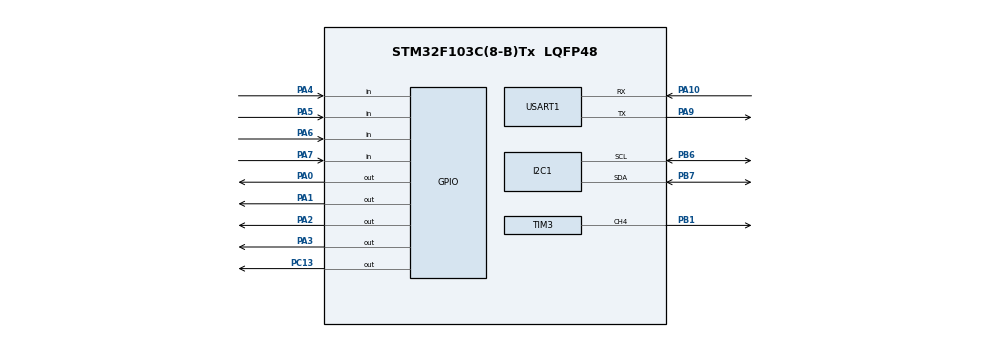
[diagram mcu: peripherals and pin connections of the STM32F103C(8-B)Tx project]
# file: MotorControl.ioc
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Mcu.Family=STM32F1
Mcu.Name=STM32F103C(8-B)Tx
Mcu.Package=LQFP48
NVIC.PriorityGroup=NVIC_PRIORITYGROUP_4
NVIC.TIM4_IRQn=true\:15\:0\:false\:false\:true\:false\:true\:true
NVIC.TimeBase=TIM4_IRQn
NVIC.TimeBaseIP=TIM4
PA0-WKUP.Signal=GPIO_Output
PA1.Signal=GPIO_Output
PA10.Mode=Asynchronous
PA10.Signal=USART1_RX
PA2.Signal=GPIO_Output
PA3.Signal=GPIO_Output
PA4.GPIO_PuPd=GPIO_PULLUP
PA4.Signal=GPIO_Input
PA5.GPIO_PuPd=GPIO_PULLUP
PA5.Signal=GPIO_Input
PA6.GPIO_PuPd=GPIO_PULLUP
PA6.Signal=GPIO_Input
PA7.GPIO_PuPd=GPIO_PULLUP
PA7.Signal=GPIO_Input
PA9.Mode=Asynchronous
PA9.Signal=USART1_TX
PB1.Signal=S_TIM3_CH4
PB6.Mode=I2C
PB6.Signal=I2C1_SCL
PB7.Mode=I2C
PB7.Signal=I2C1_SDA
PC13-TAMPER-RTC.Signal=GPIO_Output
ProjectManager.HeapSize=0x200
ProjectManager.StackSize=0x400
ProjectManager.TargetToolchain=STM32CubeIDE
RCC.APB1Freq_Value=8000000
RCC.APB2Freq_Value=8000000
SH.S_TIM3_CH4.0=TIM3_CH4,PWM Generation4 CH4
TIM3.Channel-PWM\ Generation4\ CH4=TIM_CHANNEL_4
TIM3.Period=100-1
TIM3.Prescaler=8-1
USART1.VirtualMode=VM_ASYNC
VP_SYS_VS_ND.Mode=No_Debug
VP_SYS_VS_tim4.Mode=TIM4
VP_TIM3_VS_ClockSourceINT.Mode=Internal
board=custom

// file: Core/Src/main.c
/* USER CODE BEGIN Header */
/**
  ******************************************************************************
  * @file           : main.c
  * @brief          : Main program body
  ******************************************************************************
  * @attention
  *
  * Copyright (c) 2025 STMicroelectronics.
  * All rights reserved.
  *
  * This software is licensed under terms that can be found in the LICENSE file
  * in the root directory of this software component.
  * If no LICENSE file comes with this software, it is provided AS-IS.
  *
  ******************************************************************************
  */
/* USER CODE END Header */
#include "main.h"

/* USER CODE BEGIN Includes */
#include "keypad.h"
#include "lcd.h"

/* USER CODE END Includes */

I2C_HandleTypeDef hi2c1;

TIM_HandleTypeDef htim3;

UART_HandleTypeDef huart1;

void SystemClock_Config(void);
static void MX_GPIO_Init(void);
static void MX_USART1_UART_Init(void);
static void MX_I2C1_Init(void);
static void MX_TIM3_Init(void);

int main(void)
{

  /* MCU Configuration--------------------------------------------------------*/

  /* Reset of all peripherals, Initializes the Flash interface and the Systick. */
  HAL_Init();

  /* Configure the system clock */
  SystemClock_Config();

  /* Initialize all configured peripherals */
  MX_GPIO_Init();
  MX_USART1_UART_Init();
  MX_I2C1_Init();
  MX_TIM3_Init();
  /* USER CODE BEGIN 2 */
//  status = xTaskCreate(periodicled_handler, "periodicled_task", 200, NULL, 3, &periodicled_handle);
//      configASSERT(status == pdPASS);
//
//      vTaskStartScheduler();
  /* USER CODE END 2 */

  /* Infinite loop */
  /* USER CODE BEGIN WHILE */
  uint8_t data;
  int digit=0;
  uint8_t speed[3]={'0','0','0'}; // for standard project use queue data structure
  int percentage =0;
  HAL_GPIO_WritePin(GPIOC, GPIO_PIN_13, 1);

  HAL_TIM_PWM_Start(&htim3, TIM_CHANNEL_4);
  TIM3->CCR4=0;
  lcd_init();
  lcd_write_data4bitmode('0');
  lcd_write_data4bitmode('0');
  lcd_write_data4bitmode('0');
  lcd_write_command4bitmode(0x80);
  while (1)
  {
    /* USER CODE END WHILE */

    /* USER CODE BEGIN 3 */
	  if(button_pressed()==1)
	  {
		  HAL_GPIO_WritePin(GPIOC, GPIO_PIN_13, 0);
		  data= whichkey();
//		  HAL_UART_Transmit(&huart1, &data, 1, 1000);
//		  HAL_UART_Transmit(&huart1, "\n\r", 2, 1000);

		  switch (data){
			case '*':
				if(digit>0){//1,2
					if(digit ==1){
						lcd_write_command4bitmode(0x80);
					}
					else if(digit ==2){
						lcd_write_command4bitmode(0x81);
					}
					digit--;
				}
				break;
			case '#':
				if(digit<2){//0,1
					if(digit ==1){
						lcd_write_command4bitmode(0x82);
					}
					else if(digit ==0){
						lcd_write_command4bitmode(0x81);
					}
					digit++;
				}
				break;
			case 'D':
				percentage = (speed[0]-0x30)*100 + (speed[1]-0x30)*10 + (speed[2]-0x30) ;
				if(percentage> 100){
					speed[0]='1';speed[1]='0';speed[2]='0';
					percentage = 100 ;
					lcd_write_command4bitmode(0x80);
					lcd_write_data4bitmode('1');
					lcd_write_data4bitmode('0');
					lcd_write_data4bitmode('0');
					lcd_write_command4bitmode(0x80);
					digit = 0;
				}
					TIM3->CCR4=percentage;
				 HAL_UART_Transmit(&huart1, speed, 3, 1000);
				 HAL_UART_Transmit(&huart1, "\n\r", 2, 1000);
				break;
			default:
				if(data>='0'&&data<='9'){
					speed[digit] = data ;
					HAL_UART_Transmit(&huart1,&speed[digit] , 1, 1000);
					lcd_write_data4bitmode(speed[digit]);
					lcd_write_command4bitmode(0x80|digit);
				}
				//task notify two array -> digit,
				break;
		  }

	  }//button press
	  }//while
  /* USER CODE END 3 */
}

void SystemClock_Config(void)
{
  RCC_OscInitTypeDef RCC_OscInitStruct = {0};
  RCC_ClkInitTypeDef RCC_ClkInitStruct = {0};

  /** Initializes the RCC Oscillators according to the specified parameters
  * in the RCC_OscInitTypeDef structure.
  */
  RCC_OscInitStruct.OscillatorType = RCC_OSCILLATORTYPE_HSI;
  RCC_OscInitStruct.HSIState = RCC_HSI_ON;
  RCC_OscInitStruct.HSICalibrationValue = RCC_HSICALIBRATION_DEFAULT;
  RCC_OscInitStruct.PLL.PLLState = RCC_PLL_NONE;
  if (HAL_RCC_OscConfig(&RCC_OscInitStruct) != HAL_OK)
  {
    Error_Handler();
  }

  /** Initializes the CPU, AHB and APB buses clocks
  */
  RCC_ClkInitStruct.ClockType = RCC_CLOCKTYPE_HCLK|RCC_CLOCKTYPE_SYSCLK
                              |RCC_CLOCKTYPE_PCLK1|RCC_CLOCKTYPE_PCLK2;
  RCC_ClkInitStruct.SYSCLKSource = RCC_SYSCLKSOURCE_HSI;
  RCC_ClkInitStruct.AHBCLKDivider = RCC_SYSCLK_DIV1;
  RCC_ClkInitStruct.APB1CLKDivider = RCC_HCLK_DIV1;
  RCC_ClkInitStruct.APB2CLKDivider = RCC_HCLK_DIV1;

  if (HAL_RCC_ClockConfig(&RCC_ClkInitStruct, FLASH_LATENCY_0) != HAL_OK)
  {
    Error_Handler();
  }
}

static void MX_I2C1_Init(void)
{

  hi2c1.Instance = I2C1;
  hi2c1.Init.ClockSpeed = 100000;
  hi2c1.Init.DutyCycle = I2C_DUTYCYCLE_2;
  hi2c1.Init.OwnAddress1 = 0;
  hi2c1.Init.AddressingMode = I2C_ADDRESSINGMODE_7BIT;
  hi2c1.Init.DualAddressMode = I2C_DUALADDRESS_DISABLE;
  hi2c1.Init.OwnAddress2 = 0;
  hi2c1.Init.GeneralCallMode = I2C_GENERALCALL_DISABLE;
  hi2c1.Init.NoStretchMode = I2C_NOSTRETCH_DISABLE;
  if (HAL_I2C_Init(&hi2c1) != HAL_OK)
  {
    Error_Handler();
  }

}

static void MX_TIM3_Init(void)
{

  TIM_ClockConfigTypeDef sClockSourceConfig = {0};
  TIM_MasterConfigTypeDef sMasterConfig = {0};
  TIM_OC_InitTypeDef sConfigOC = {0};

  htim3.Instance = TIM3;
  htim3.Init.Prescaler = 8-1;
  htim3.Init.CounterMode = TIM_COUNTERMODE_UP;
  htim3.Init.Period = 100-1;
  htim3.Init.ClockDivision = TIM_CLOCKDIVISION_DIV1;
  htim3.Init.AutoReloadPreload = TIM_AUTORELOAD_PRELOAD_DISABLE;
  if (HAL_TIM_Base_Init(&htim3) != HAL_OK)
  {
    Error_Handler();
  }
  sClockSourceConfig.ClockSource = TIM_CLOCKSOURCE_INTERNAL;
  if (HAL_TIM_ConfigClockSource(&htim3, &sClockSourceConfig) != HAL_OK)
  {
    Error_Handler();
  }
  if (HAL_TIM_PWM_Init(&htim3) != HAL_OK)
  {
    Error_Handler();
  }
  sMasterConfig.MasterOutputTrigger = TIM_TRGO_RESET;
  sMasterConfig.MasterSlaveMode = TIM_MASTERSLAVEMODE_DISABLE;
  if (HAL_TIMEx_MasterConfigSynchronization(&htim3, &sMasterConfig) != HAL_OK)
  {
    Error_Handler();
  }
  sConfigOC.OCMode = TIM_OCMODE_PWM1;
  sConfigOC.Pulse = 0;
  sConfigOC.OCPolarity = TIM_OCPOLARITY_HIGH;
  sConfigOC.OCFastMode = TIM_OCFAST_DISABLE;
  if (HAL_TIM_PWM_ConfigChannel(&htim3, &sConfigOC, TIM_CHANNEL_4) != HAL_OK)
  {
    Error_Handler();
  }
  HAL_TIM_MspPostInit(&htim3);

}

static void MX_USART1_UART_Init(void)
{

  huart1.Instance = USART1;
  huart1.Init.BaudRate = 115200;
  huart1.Init.WordLength = UART_WORDLENGTH_8B;
  huart1.Init.StopBits = UART_STOPBITS_1;
  huart1.Init.Parity = UART_PARITY_NONE;
  huart1.Init.Mode = UART_MODE_TX_RX;
  huart1.Init.HwFlowCtl = UART_HWCONTROL_NONE;
  huart1.Init.OverSampling = UART_OVERSAMPLING_16;
  if (HAL_UART_Init(&huart1) != HAL_OK)
  {
    Error_Handler();
  }

}

static void MX_GPIO_Init(void)
{
  GPIO_InitTypeDef GPIO_InitStruct = {0};

  /* GPIO Ports Clock Enable */
  __HAL_RCC_GPIOC_CLK_ENABLE();
  __HAL_RCC_GPIOA_CLK_ENABLE();
  __HAL_RCC_GPIOB_CLK_ENABLE();

  /*Configure GPIO pin Output Level */
  HAL_GPIO_WritePin(GPIOC, GPIO_PIN_13, GPIO_PIN_RESET);

  /*Configure GPIO pin Output Level */
  HAL_GPIO_WritePin(GPIOA, GPIO_PIN_0|GPIO_PIN_1|GPIO_PIN_2|GPIO_PIN_3, GPIO_PIN_RESET);

  /*Configure GPIO pin : PC13 */
  GPIO_InitStruct.Pin = GPIO_PIN_13;
  GPIO_InitStruct.Mode = GPIO_MODE_OUTPUT_PP;
  GPIO_InitStruct.Pull = GPIO_NOPULL;
  GPIO_InitStruct.Speed = GPIO_SPEED_FREQ_LOW;
  HAL_GPIO_Init(GPIOC, &GPIO_InitStruct);

  /*Configure GPIO pins : PA0 PA1 PA2 PA3 */
  GPIO_InitStruct.Pin = GPIO_PIN_0|GPIO_PIN_1|GPIO_PIN_2|GPIO_PIN_3;
  GPIO_InitStruct.Mode = GPIO_MODE_OUTPUT_PP;
  GPIO_InitStruct.Pull = GPIO_NOPULL;
  GPIO_InitStruct.Speed = GPIO_SPEED_FREQ_LOW;
  HAL_GPIO_Init(GPIOA, &GPIO_InitStruct);

  /*Configure GPIO pins : PA4 PA5 PA6 PA7 */
  GPIO_InitStruct.Pin = GPIO_PIN_4|GPIO_PIN_5|GPIO_PIN_6|GPIO_PIN_7;
  GPIO_InitStruct.Mode = GPIO_MODE_INPUT;
  GPIO_InitStruct.Pull = GPIO_PULLUP;
  HAL_GPIO_Init(GPIOA, &GPIO_InitStruct);

}

/* USER CODE BEGIN 4 */

//why botton press need to be found first
// if we wont use. the for loop will be scanning any other pin at the time we press any other pin .
//this will cause wrong result
// if we use button press means . the scanning will start at the time of

//		  if(digit<=2){
//			  speed[digit]= data ;
//			  HAL_UART_Transmit(&huart1, &data, 1, 1000);
//			  HAL_UART_Transmit(&huart1, "\n\r", 2, 1000);
//			  digit++;
//  		  }
//
//		  if(data == '#')
//		  {
//			  if(digit ==1){
//				  speed[2]=speed[0];
//				  speed[0]='0';
//			  }
//			  else if(digit == 2) // can be grouped. but i did for understanding
//			  {
//				  speed[2]=speed[0];
//				  speed[0]='0';
//			  }
//
//			  percentage = (speed[0]-0x30)*100 + (speed[1]-0x30)*10 + (speed[2]-0x30) ;
//			  if(0<=percentage<=100){
//				  speed[0]='0';speed[1]='0';speed[2]='0';
//			  }
//			  dum=speed;
//			  if(digit==2){
//				  dum+=1;
//				  HAL_UART_Transmit(&huart1, dum, digit, 1000);
//			  }
//			  else if (digit == 1)
//			  {
//				  dum+=2;
//				  HAL_UART_Transmit(&huart1, dum, digit, 1000);
//			  }
//			  else
//			  {
//				  HAL_UART_Transmit(&huart1, dum, digit, 1000);
//			  }
//			  HAL_UART_Transmit(&huart1, "\n\r", 2, 1000);
//
//			  digit =0;
//		  }
/* USER CODE END 4 */

void HAL_TIM_PeriodElapsedCallback(TIM_HandleTypeDef *htim)
{
  if (htim->Instance == TIM4)
  {
    HAL_IncTick();
  }
}

void Error_Handler(void)
{
  __disable_irq();
  while (1)
  {
  }
}
